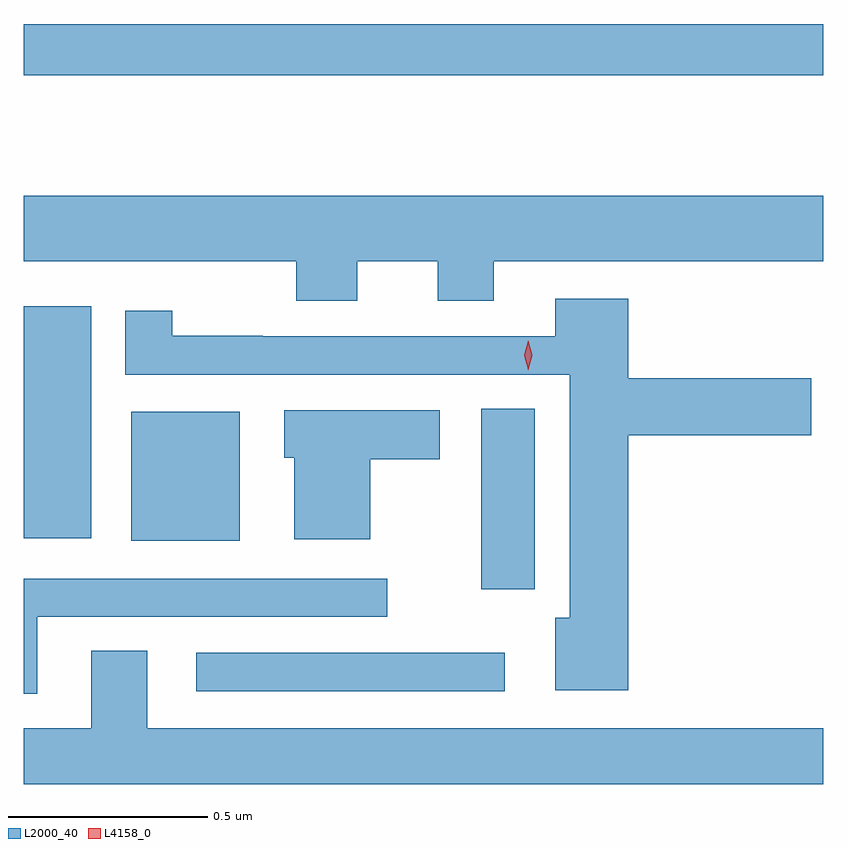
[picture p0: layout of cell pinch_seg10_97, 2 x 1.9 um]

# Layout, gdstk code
import gdstk
lib = gdstk.Library(unit=1e-6, precision=1e-09)
def R(c, l, rs):  # rectangles x0, y0, x1, y1
    for r in rs: c.add(gdstk.rectangle(r[:2], r[2:], *l))
def P(c, l, *ps):  # polygons
    for p in ps: c.add(gdstk.Polygon(p, *l))
L2000_40 = (2000, 40)
L4158_0 = (4158, 0)

pinch_seg10_97 = lib.new_cell('pinch_seg10_97')
R(pinch_seg10_97, L2000_40, [(720.303,1312.56,721.075,1312.656), (721.016,1312.815,721.15,1313.267), (720.14,1312.937,720.412,1313.26), (719.872,1312.943,720.04,1313.524), (719.872,1314.102,721.872,1314.23)])
P(pinch_seg10_97, L2000_40, [(720.706,1313.636),(720.908,1313.636),(720.908,1313.537),(721.048,1313.537),(721.048,1313.636),(721.872,1313.636),(721.872,1313.8),(719.872,1313.8),(719.872,1313.636),(720.554,1313.636),(720.554,1313.537),(720.706,1313.537)],
  [(721.385,1313.201),(721.843,1313.201),(721.843,1313.343),(721.385,1313.343),(721.385,1313.542),(721.202,1313.542),(721.202,1313.448),(720.47,1313.448),(720.47,1313.45),(720.243,1313.45),(720.243,1313.512),(720.125,1313.512),(720.125,1313.352),(721.238,1313.352),(721.238,1312.744),(721.202,1312.744),(721.202,1312.562),(721.385,1312.562)],
  [(720.739,1313.141),(720.913,1313.141),(720.913,1313.263),(720.524,1313.263),(720.524,1313.145),(720.548,1313.145),(720.548,1312.94),(720.739,1312.94)],
  [(719.905,1312.746),(720.781,1312.746),(720.781,1312.842),(719.872,1312.842),(719.872,1312.554),(719.905,1312.554)],
  [(721.872,1312.468),(720.181,1312.468),(720.181,1312.661),(720.041,1312.661),(720.041,1312.468),(719.872,1312.468),(719.872,1312.328),(721.872,1312.328)])
P(pinch_seg10_97, L4158_0, [(721.134,1313.364),(721.134,1313.365),(721.124,1313.401),(721.134,1313.437),(721.134,1313.437),(721.134,1313.437),(721.144,1313.401),(721.134,1313.365)])

lib.write_gds('pinch_seg10_97.gds')
